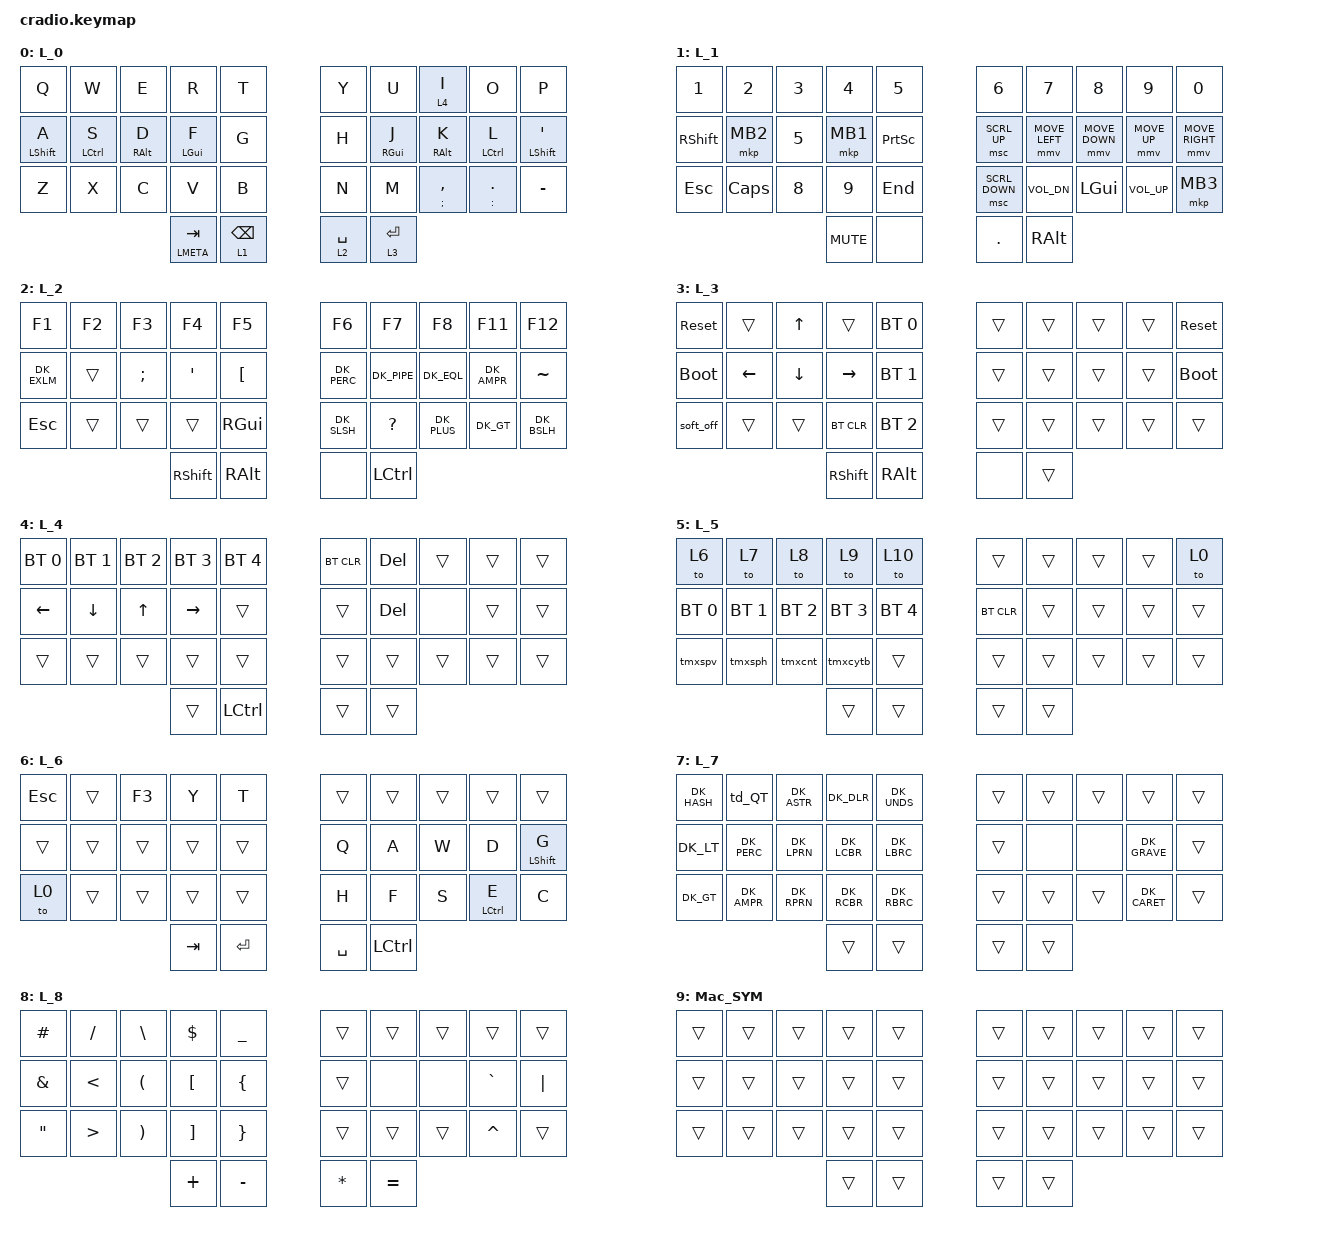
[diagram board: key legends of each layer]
#include <behaviors.dtsi>
#include <dt-bindings/zmk/bt.h>
#include <dt-bindings/zmk/keys.h>


#define ZMK_POINTING_DEFAULT_MOVE_VAL 3500  // default: 600
#define ZMK_POINTING_DEFAULT_SCRL_VAL 20    // default: 10
#include <dt-bindings/zmk/pointing.h>

#include "tapdance.dtsi"
#include "aliases.h" // Include the Danish keys

&mmv {
  acceleration-exponent = <2>;
  time-to-max-speed-ms = <350>;
  delay-ms = <0>;
};

/ {

    behaviors {
        td_nt1: td_nt1 {
            compatible = "zmk,behavior-tap-dance";
            #binding-cells = <0>;
            tapping-term-ms = <100>;
            bindings = <&kp N1>, <&kp N2>, <&mt N3 N4>;
        };
        ht: hold_tap {
            compatible = "zmk,behavior-hold-tap";
            #binding-cells = <2>;
            flavor = "tap-preferred";
            tapping-term-ms = <220>;
            quick-tap-ms = <150>;
            require-prior-idle-ms = <100>;
            bindings = <&kp>, <&kp>;
        };
        td_QT: td_QT {
            compatible = "zmk,behavior-tap-dance";
            #binding-cells = <0>;
            tapping-term-ms = <100>;
            bindings = <&kp DK_SQT>, <&kp DK_DQUO>;
        };
    };
    combos {
        compatible = "zmk,combos";

        esc {
            bindings = <&kp ESC>;
            key-positions = <11 12>;
        };

        bspc {
            bindings = <&kp BSPC>;
            key-positions = <7 8>;
        };

        tab {
            bindings = <&kp TAB>;
            key-positions = <21 22>;
        };

        CPSWRD {
            bindings = <&caps_word>;
            key-positions = <13 12>;
        };

        L_5 {
            bindings = <&mo 5>;
            key-positions = <27 28>;
        };

        L_8 {
            bindings = <&mo 8>;
            key-positions = <17 16>;
        };

    };
    macros {
        // TMUX macros
        tmxspv: tmxspv {
            compatible = "zmk,behavior-macro";
            #binding-cells = <0>;
            bindings = <&kp LC(A) &kp PIPE>;
        };
        tmxsph: tmxsph {
            compatible = "zmk,behavior-macro";
            #binding-cells = <0>;
            bindings = <&kp LC(A) &kp MINUS>;
        };
        tmxcnt: tmxcnt {
            compatible = "zmk,behavior-macro";
            #binding-cells = <0>;
            bindings = <&kp LC(A) &kp C>;
        };
        tmxcytb: tmxcytb {
            compatible = "zmk,behavior-macro";
            #binding-cells = <0>;
            bindings = <&kp LC(A) &kp N>;
        };
    };

    keymap {
        compatible = "zmk,keymap";

        // L_0 {
        //    bindings = <
        //         /*╭─────────────┬─────────────┬─────────────┬─────────────┬─────────────╮ ╭─────────────┬─────────────┬─────────────┬─────────────┬─────────────╮           */
        //             &kp Q         &kp W         &kp E         &kp R         &kp T           &kp Y         &kp U         &lt 4 I       &kp O         &kp P
        //         /*├─────────────┼─────────────┼─────────────┼─────────────┼─────────────┤ ├─────────────┼─────────────┼─────────────┼─────────────┼─────────────┤           */
        //             &ht LSHIFT A  &ht LCTRL S  &ht RALT D     &ht LGUI F    &kp G           &kp H         &ht RGUI J    &ht RALT K    &ht LCTRL L  &ht LSHIFT DK_SQT
        //         /*├─────────────┼─────────────┼─────────────┼─────────────┼─────────────┤ ├─────────────┼─────────────┼─────────────┼─────────────┼─────────────┤           */
        //             &kp Z         &kp X         &kp C         &kp V         &kp B           &kp N         &kp M         &kp COMMA     &kp DOT       &kp DK_MINS
        //         /*╰─────────────┼─────────────┴─────────────┼─────────────┼─────────────┤ ├─────────────┼─────────────┼─────────────┴─────────────┼─────────────╯           */
        //                                                       &ht LMETA TAB &lt 1 BACKSPACE &lt 2 SPACE   &lt 3 ENTER
        //         /*                                          ╰─────────────┴─────────────╯ ╰─────────────┴─────────────╯                                                     */
        //     >;
        // };
        L_0 {
           bindings = <
                /*╭─────────────┬─────────────┬─────────────┬─────────────┬─────────────╮ ╭─────────────┬─────────────┬─────────────┬─────────────┬─────────────╮           */
                    &kp Q         &kp W         &kp E         &kp R         &kp T           &kp Y         &kp U         &lt 4 I       &kp O         &kp P
                /*├─────────────┼─────────────┼─────────────┼─────────────┼─────────────┤ ├─────────────┼─────────────┼─────────────┼─────────────┼─────────────┤           */
                    &ht LSHIFT A  &ht LCTRL S  &ht RALT D     &ht LGUI F    &kp G           &kp H         &ht RGUI J    &ht RALT K    &ht LCTRL L   &ht LSHIFT SQT
                /*├─────────────┼─────────────┼─────────────┼─────────────┼─────────────┤ ├─────────────┼─────────────┼─────────────┼─────────────┼─────────────┤           */
                    &kp Z         &kp X         &kp C         &kp V         &kp B           &kp N         &kp M         &ht SEMI COMMA &ht COLON DOT &kp MINUS
                /*╰─────────────┼─────────────┴─────────────┼─────────────┼─────────────┤ ├─────────────┼─────────────┼─────────────┴─────────────┼─────────────╯           */
                                                              &ht LMETA TAB &lt 1 BSPC      &lt 2 SPACE   &lt 3 ENTER
                /*                                          ╰─────────────┴─────────────╯ ╰─────────────┴─────────────╯                                                     */
            >;
        };
        L_1 {
            bindings = <
                /*╭─────────────┬─────────────┬─────────────┬─────────────┬─────────────╮ ╭─────────────┬─────────────┬─────────────┬──────────────┬─────────────╮           */
                    &kp N1        &kp N2        &kp N3        &kp N4        &kp N5          &kp N6         &kp N7        &kp N8         &kp N9        &kp N0
                /*├─────────────┼─────────────┼─────────────┼─────────────┼─────────────┤ ├─────────────┼─────────────┼─────────────┼──────────────┼─────────────┤           */
                    &kp RSHIFT    &mkp MB2      &kp N5        &mkp MB1      &kp PSCRN        &msc SCRL_UP   &mmv MOVE_LEFT &mmv MOVE_DOWN &mmv MOVE_UP &mmv MOVE_RIGHT
                /*├─────────────┼─────────────┼─────────────┼─────────────┼─────────────┤ ├─────────────┼─────────────┼─────────────┼──────────────┼─────────────┤           */
                    &kp ESC       &kp CAPS      &kp N8        &kp N9        &kp END         &msc SCRL_DOWN &kp C_VOL_DN  &kp LGUI     &kp C_VOL_UP   &mkp MB3
                /*╰─────────────┼─────────────┴─────────────┼─────────────┼─────────────┤ ├─────────────┼─────────────┼─────────────┴──────────────┼─────────────╯           */
                                                              &kp C_MUTE    &none           &kp DOT       &kp RALT
                /*                                          ╰─────────────┴─────────────╯ ╰─────────────┴─────────────╯                                                      */
            >;
        };
        L_2 {
            bindings = <
                
                /*╭─────────────┬─────────────┬─────────────┬─────────────┬─────────────╮ ╭─────────────┬─────────────┬─────────────┬──────────────┬─────────────╮           */
                    &kp F1        &kp F2        &kp F3        &kp F4        &kp F5          &kp F6        &kp F7        &kp F8        &kp F11        &kp F12
                /*├─────────────┼─────────────┼─────────────┼─────────────┼─────────────┤ ├─────────────┼─────────────┼─────────────┼──────────────┼─────────────┤           */
                    &kp DK_EXLM   &trans        &kp SEMI      &kp SQT       &kp LBKT        &kp DK_PERC   &kp DK_PIPE   &kp DK_EQL    &kp DK_AMPR    &kp TILDE 
                /*├─────────────┼─────────────┼─────────────┼─────────────┼─────────────┤ ├─────────────┼─────────────┼─────────────┼──────────────┼─────────────┤           */
                    &kp ESC       &trans        &trans        &trans        &kp RGUI        &kp DK_SLSH   &kp QMARK   &kp DK_PLUS   &kp DK_GT      &kp DK_BSLH 
                /*╰─────────────┼─────────────┴─────────────┼─────────────┼─────────────┤ ├─────────────┼─────────────┼─────────────┴──────────────┼─────────────╯           */
                                                              &kp RSHFT     &kp RALT        &none         &kp LCTRL
                /*                                          ╰─────────────┴─────────────╯ ╰─────────────┴─────────────╯                                                      */
            >;
        };
        L_3 {
            bindings = <
                /*╭─────────────┬─────────────┬─────────────┬─────────────┬─────────────╮ ╭─────────────┬─────────────┬─────────────┬──────────────┬─────────────╮           */
                    &sys_reset    &trans        &kp UP        &trans        &bt BT_SEL 0     &trans        &trans        &trans        &trans         &sys_reset
                /*├─────────────┼─────────────┼─────────────┼─────────────┼─────────────┤ ├─────────────┼─────────────┼─────────────┼──────────────┼─────────────┤           */
                    &bootloader   &kp LEFT      &kp DOWN      &kp RIGHT     &bt BT_SEL 1     &trans        &trans        &trans        &trans         &bootloader
                /*├─────────────┼─────────────┼─────────────┼─────────────┼─────────────┤ ├─────────────┼─────────────┼─────────────┼──────────────┼─────────────┤           */
                    &soft_off     &trans        &trans        &bt BT_CLR    &bt BT_SEL 2     &trans        &trans        &trans        &trans         &trans
                /*╰─────────────┼─────────────┴─────────────┼─────────────┼─────────────┤ ├─────────────┼─────────────┼─────────────┴──────────────┼─────────────╯           */
                                                              &kp RSHFT     &kp RALT        &none        &trans
                /*                                          ╰─────────────┴─────────────╯ ╰─────────────┴─────────────╯                                                      */
            >;
        };
        L_4 {
            bindings = <
                /*╭─────────────┬─────────────┬─────────────┬─────────────┬─────────────╮ ╭─────────────┬─────────────┬─────────────┬──────────────┬─────────────╮           */
                    &bt BT_SEL 0  &bt BT_SEL 1  &bt BT_SEL 2  &bt BT_SEL 3 &bt BT_SEL 4     &bt BT_CLR    &kp DEL        &trans        &trans        &trans
                /*├─────────────┼─────────────┼─────────────┼─────────────┼─────────────┤ ├─────────────┼─────────────┼─────────────┼──────────────┼─────────────┤           */
                    &kp LEFT      &kp DOWN      &kp UP        &kp RIGHT    &trans           &trans        &kp DEL       &none        &trans          &trans
                /*├─────────────┼─────────────┼─────────────┼─────────────┼─────────────┤ ├─────────────┼─────────────┼─────────────┼──────────────┼─────────────┤           */
                    &trans        &trans        &trans        &trans       &trans           &trans        &trans        &trans        &trans         &trans
                /*╰─────────────┼─────────────┴─────────────┼─────────────┼─────────────┤ ├─────────────┼─────────────┼─────────────┴──────────────┼─────────────╯           */
                                                              &trans       &kp LCTRL        &trans        &trans
                /*                                          ╰─────────────┴─────────────╯ ╰─────────────┴─────────────╯                                                      */
            >;
        };
        L_5 {
            bindings = <
                /*╭─────────────┬─────────────┬─────────────┬─────────────┬─────────────╮ ╭─────────────┬─────────────┬─────────────┬──────────────┬─────────────╮           */
                    &to 6         &to 7         &to 8         &to 9         &to 10          &trans        &trans        &trans        &trans         &to 0
                /*├─────────────┼─────────────┼─────────────┼─────────────┼─────────────┤ ├─────────────┼─────────────┼─────────────┼──────────────┼─────────────┤           */
                    &bt BT_SEL 0  &bt BT_SEL 1  &bt BT_SEL 2  &bt BT_SEL 3  &bt BT_SEL 4    &bt BT_CLR    &trans        &trans        &trans         &trans
                /*├─────────────┼─────────────┼─────────────┼─────────────┼─────────────┤ ├─────────────┼─────────────┼─────────────┼──────────────┼─────────────┤           */
                    &tmxspv      &tmxsph        &tmxcnt       &tmxcytb      &trans          &trans        &trans        &trans        &trans         &trans
                /*╰─────────────┼─────────────┴─────────────┼─────────────┼─────────────┤ ├─────────────┼─────────────┼─────────────┴──────────────┼─────────────╯           */
                                                              &trans        &trans          &trans        &trans
                /*                                          ╰─────────────┴─────────────╯ ╰─────────────┴─────────────╯                                                      */
            >;
        };
        L_6 {
            bindings = <
                /*╭─────────────┬─────────────┬─────────────┬─────────────┬─────────────╮ ╭─────────────┬─────────────┬─────────────┬──────────────┬─────────────╮           */
                    &kp ESC       &trans        &kp F3        &kp Y         &kp T           &trans          &trans      &trans        &trans         &trans
                /*├─────────────┼─────────────┼─────────────┼─────────────┼─────────────┤ ├─────────────┼─────────────┼─────────────┼──────────────┼─────────────┤           */
                    &trans        &trans        &trans        &trans        &trans          &kp Q         &kp A         &kp W         &kp D          &ht LSHIFT G
                /*├─────────────┼─────────────┼─────────────┼─────────────┼─────────────┤ ├─────────────┼─────────────┼─────────────┼──────────────┼─────────────┤           */
                    &to 0        &trans        &trans        &trans        &trans           &kp H         &kp F         &kp S         &ht LCTRL E    &kp C
                /*╰─────────────┼─────────────┴─────────────┼─────────────┼─────────────┤ ├─────────────┼─────────────┼─────────────┴──────────────┼─────────────╯           */
                                                              &kp TAB       &kp ENTER       &kp SPACE     &kp LCTRL
                /*                                          ╰─────────────┴─────────────╯ ╰─────────────┴─────────────╯                                                      */
            >;
        };
        L_7 {
            bindings = <
                /*╭─────────────┬─────────────┬─────────────┬─────────────┬─────────────╮ ╭─────────────┬─────────────┬─────────────┬──────────────┬─────────────╮           */
                    &kp DK_HASH  &td_QT        &kp DK_ASTR   &kp DK_DLR    &kp DK_UNDS      &trans        &trans        &trans        &trans         &trans
                /*├─────────────┼─────────────┼─────────────┼─────────────┼─────────────┤ ├─────────────┼─────────────┼─────────────┼──────────────┼─────────────┤           */
                    &kp DK_LT   &kp DK_PERC   &kp DK_LPRN   &kp DK_LCBR   &kp DK_LBRC       &trans        &none         &none         &kp DK_GRAVE   &trans
                /*├─────────────┼─────────────┼─────────────┼─────────────┼─────────────┤ ├─────────────┼─────────────┼─────────────┼──────────────┼─────────────┤           */
                    &kp DK_GT   &kp DK_AMPR   &kp DK_RPRN   &kp DK_RCBR   &kp DK_RBRC       &trans        &trans        &trans        &kp DK_CARET   &trans
                /*╰─────────────┼─────────────┴─────────────┼─────────────┼─────────────┤ ├─────────────┼─────────────┼─────────────┴──────────────┼─────────────╯           */
                                                              &trans       &trans           &trans        &trans
                /*                                          ╰─────────────┴─────────────╯ ╰─────────────┴─────────────╯                                                      */
            >;
        };
        L_8 {
            bindings = <
                /*╭─────────────┬─────────────┬─────────────┬─────────────┬─────────────╮ ╭─────────────┬─────────────┬─────────────┬──────────────┬─────────────╮           */
                    &kp HASH     &kp FSLH       &kp BSLH      &kp DLLR     &kp UNDER        &trans        &trans        &trans        &trans         &trans
                /*├─────────────┼─────────────┼─────────────┼─────────────┼─────────────┤ ├─────────────┼─────────────┼─────────────┼──────────────┼─────────────┤           */
                    &kp AMPS     &kp LT         &kp LPAR      &kp LBKT     &kp LBRC         &trans        &none         &none         &kp GRAVE      &kp PIPE
                /*├─────────────┼─────────────┼─────────────┼─────────────┼─────────────┤ ├─────────────┼─────────────┼─────────────┼──────────────┼─────────────┤           */
                    &kp DQT      &kp GT         &kp RPAR      &kp RBKT     &kp RBRC         &trans        &trans        &trans        &kp CARET      &trans
                /*╰─────────────┼─────────────┴─────────────┼─────────────┼─────────────┤ ├─────────────┼─────────────┼─────────────┴──────────────┼─────────────╯           */
                                                              &kp PLUS     &kp MINUS        &kp ASTRK     &kp EQUAL 
                /*                                          ╰─────────────┴─────────────╯ ╰─────────────┴─────────────╯                                                      */
            >;
        };
        Mac_SYM {
            bindings = <
                /*╭─────────────┬─────────────┬─────────────┬─────────────┬─────────────╮ ╭─────────────┬─────────────┬─────────────┬──────────────┬─────────────╮           */
                    &trans        &trans        &trans        &trans        &trans          &trans        &trans        &trans        &trans         &trans
                /*├─────────────┼─────────────┼─────────────┼─────────────┼─────────────┤ ├─────────────┼─────────────┼─────────────┼──────────────┼─────────────┤           */
                    &trans        &trans        &trans        &trans        &trans          &trans        &trans        &trans        &trans         &trans
                /*├─────────────┼─────────────┼─────────────┼─────────────┼─────────────┤ ├─────────────┼─────────────┼─────────────┼──────────────┼─────────────┤           */
                    &trans        &trans        &trans        &trans        &trans          &trans        &trans        &trans        &trans         &trans
                /*╰─────────────┼─────────────┴─────────────┼─────────────┼─────────────┤ ├─────────────┼─────────────┼─────────────┴──────────────┼─────────────╯           */
                                                              &trans        &trans          &trans        &trans
                /*                                          ╰─────────────┴─────────────╯ ╰─────────────┴─────────────╯                                                      */
            >;
        };
    };
};
